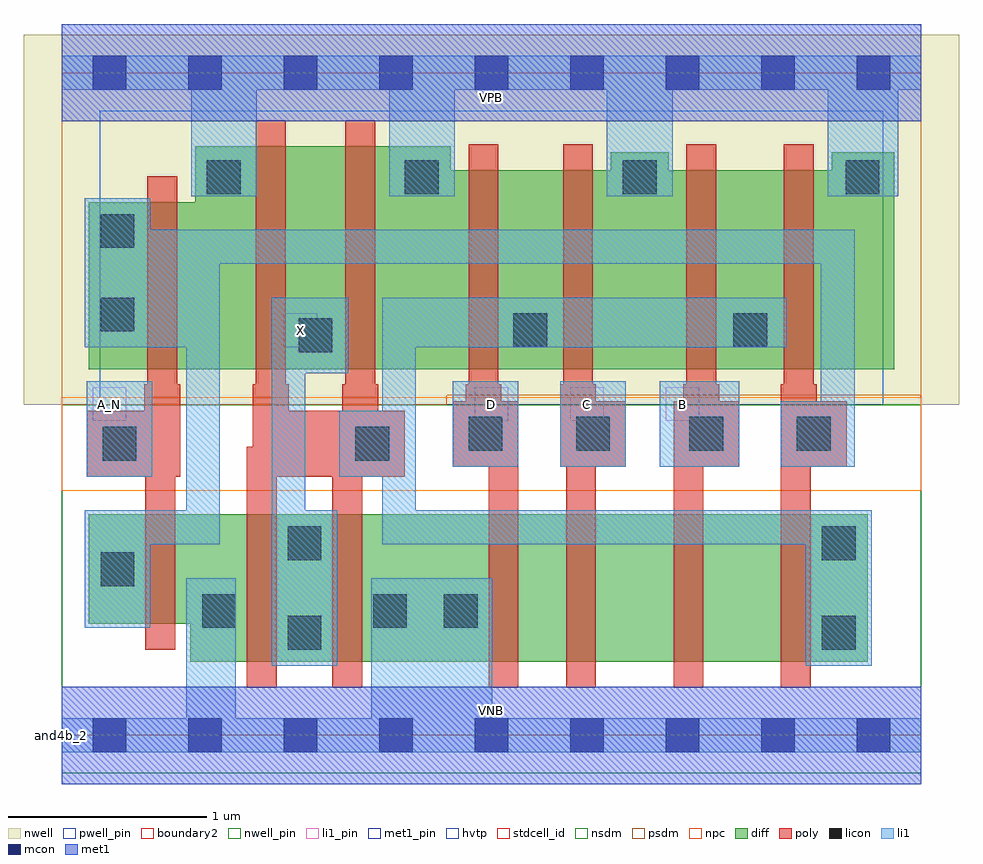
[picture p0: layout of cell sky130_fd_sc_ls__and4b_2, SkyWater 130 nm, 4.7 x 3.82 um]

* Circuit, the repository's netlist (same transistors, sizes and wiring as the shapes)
* Copyright 2020 The SkyWater PDK Authors
*
* Licensed under the Apache License, Version 2.0 (the "License");
* you may not use this file except in compliance with the License.
* You may obtain a copy of the License at
*
*     https://www.apache.org/licenses/LICENSE-2.0
*
* Unless required by applicable law or agreed to in writing, software
* distributed under the License is distributed on an "AS IS" BASIS,
* WITHOUT WARRANTIES OR CONDITIONS OF ANY KIND, either express or implied.
* See the License for the specific language governing permissions and
* limitations under the License.
*
* SPDX-License-Identifier: Apache-2.0

.SUBCKT sky130_fd_sc_ls__and4b_2 A_N B C D VGND VNB VPB VPWR X
*.PININFO A_N:I B:I C:I D:I VGND:I VNB:I VPB:I VPWR:I X:O
MMP0 y A VPWR VPB sky130_fd_pr__pfet_01v8_hvt m=1 w=1.0U l=0.15U mult=1 sa=0.265
+ sb=0.265 sd=0.28 area=0.063 perim=1.14
MMP1 y B VPWR VPB sky130_fd_pr__pfet_01v8_hvt m=1 w=1.0U l=0.15U mult=1 sa=0.265
+ sb=0.265 sd=0.28 area=0.063 perim=1.14
MMP2 y C VPWR VPB sky130_fd_pr__pfet_01v8_hvt m=1 w=1.0U l=0.15U mult=1 sa=0.265
+ sb=0.265 sd=0.28 area=0.063 perim=1.14
MMP3 y D VPWR VPB sky130_fd_pr__pfet_01v8_hvt m=1 w=1.0U l=0.15U mult=1 sa=0.265
+ sb=0.265 sd=0.28 area=0.063 perim=1.14
MMIP0 A A_N VPWR VPB sky130_fd_pr__pfet_01v8_hvt m=1 w=0.84U l=0.15U mult=1 sa=0.265
+ sb=0.265 sd=0.28 area=0.063 perim=1.14
MMIP1 X y VPWR VPB sky130_fd_pr__pfet_01v8_hvt m=2 w=1.12U l=0.15U mult=1 sa=0.265
+ sb=0.265 sd=0.28 area=0.063 perim=1.14
MMN0 y A sndA VNB sky130_fd_pr__nfet_01v8 m=1 w=0.74U l=0.15U mult=1 sa=0.265 sb=0.265
+ sd=0.28 area=0.063 perim=1.14
MMN1 sndA B sndB VNB sky130_fd_pr__nfet_01v8 m=1 w=0.74U l=0.15U mult=1 sa=0.265
+ sb=0.265 sd=0.28 area=0.063 perim=1.14
MMN2 sndB C sndC VNB sky130_fd_pr__nfet_01v8 m=1 w=0.74U l=0.15U mult=1 sa=0.265
+ sb=0.265 sd=0.28 area=0.063 perim=1.14
MMN3 sndC D VGND VNB sky130_fd_pr__nfet_01v8 m=1 w=0.74U l=0.15U mult=1 sa=0.265
+ sb=0.265 sd=0.28 area=0.063 perim=1.14
MMIN0 A A_N VGND VNB sky130_fd_pr__nfet_01v8 m=1 w=0.55U l=0.15U mult=1 sa=0.265
+ sb=0.265 sd=0.28 area=0.063 perim=1.14
MMIN1 X y VGND VNB sky130_fd_pr__nfet_01v8 m=2 w=0.74U l=0.15U mult=1 sa=0.265
+ sb=0.265 sd=0.28 area=0.063 perim=1.14
.ENDS sky130_fd_sc_ls__and4b_2

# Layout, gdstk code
import gdstk
lib = gdstk.Library(unit=1e-6, precision=1e-09)
def R(c, l, rs):  # rectangles x0, y0, x1, y1
    for r in rs: c.add(gdstk.rectangle(r[:2], r[2:], *l))
def A(c, l, x, y, w, h, nx, ny, dx, dy):  # array of equal rectangles
    R(c, l, [(x+i*dx, y+j*dy, x+i*dx+w, y+j*dy+h) for i in range(nx) for j in range(ny)])
def P(c, l, *ps):  # polygons
    for p in ps: c.add(gdstk.Polygon(p, *l))
nwell_pin = (64, 16)
nwell = (64, 20)
diff = (65, 20)
poly = (66, 20)
licon = (66, 44)
li1_pin = (67, 16)
li1 = (67, 20)
mcon = (67, 44)
met1_pin = (68, 16)
met1 = (68, 20)
hvtp = (78, 44)
stdcell_id = (81, 4)
nsdm = (93, 44)
psdm = (94, 20)
npc = (95, 20)
pwell_pin = (122, 16)
boundary2 = (236, 0)

sky130_fd_sc_ls__and4b_2 = lib.new_cell('sky130_fd_sc_ls__and4b_2')
R(sky130_fd_sc_ls__and4b_2, nwell_pin, [(0,3.085,4.32,3.33)])
R(sky130_fd_sc_ls__and4b_2, nwell, [(-0.19,1.66,4.51,3.52)])
P(sky130_fd_sc_ls__and4b_2, diff, [(4.05,1.11),(0.135,1.11),(0.135,0.56),(0.645,0.56),(0.645,0.37),(4.05,0.37)],
  [(4.185,2.93),(3.87,2.93),(3.87,2.84),(3.05,2.84),(3.05,2.93),(2.76,2.93),(2.76,2.84),(1.955,2.84),(1.955,2.96),(0.67,2.96),(0.67,2.68),(0.135,2.68),(0.135,1.84),(4.185,1.84)])
P(sky130_fd_sc_ls__and4b_2, poly, [(3.945,1.68),(3.795,1.68),(3.795,1.765),(3.78,1.765),(3.78,2.97),(3.63,2.97),(3.63,1.765),(3.615,1.765),(3.615,0.24),(3.765,0.24),(3.765,1.35),(3.945,1.35)],
  [(3.405,1.68),(3.305,1.68),(3.305,1.765),(3.29,1.765),(3.29,2.97),(3.14,2.97),(3.14,1.765),(3.125,1.765),(3.125,1.68),(3.075,1.68),(3.075,0.24),(3.225,0.24),(3.225,1.35),(3.405,1.35)],
  [(2.835,1.68),(2.685,1.68),(2.685,1.765),(2.67,1.765),(2.67,2.97),(2.52,2.97),(2.52,1.765),(2.505,1.765),(2.505,1.35),(2.535,1.35),(2.535,0.24),(2.685,0.24),(2.685,1.35),(2.835,1.35)],
  [(2.295,1.68),(2.21,1.68),(2.21,1.765),(2.195,1.765),(2.195,2.97),(2.045,2.97),(2.045,1.765),(2.03,1.765),(2.03,1.68),(1.965,1.68),(1.965,1.35),(2.145,1.35),(2.145,0.24),(2.295,0.24)],
  [(1.725,1.63),(1.59,1.63),(1.59,1.765),(1.575,1.765),(1.575,3.09),(1.425,3.09),(1.425,1.765),(1.41,1.765),(1.41,1.63),(1.14,1.63),(1.14,1.765),(1.125,1.765),(1.125,3.09),(0.975,3.09),(0.975,1.765),(0.96,1.765),(0.96,1.45),(0.93,1.45),(0.93,0.24),(1.08,0.24),(1.08,1.3),(1.36,1.3),(1.36,0.24),(1.51,0.24),(1.51,1.3),(1.725,1.3)],
  [(0.595,1.765),(0.58,1.765),(0.58,2.81),(0.43,2.81),(0.43,1.765),(0.415,1.765),(0.415,1.63),(0.125,1.63),(0.125,1.3),(0.42,1.3),(0.42,0.43),(0.57,0.43),(0.57,1.3),(0.595,1.3)])
R(sky130_fd_sc_ls__and4b_2, licon, [(1.135,0.43,1.305,0.6), (3.82,0.43,3.99,0.6), (0.705,0.54,0.875,0.71), (1.565,0.54,1.735,0.71), (1.92,0.54,2.09,0.71), (0.195,0.75,0.365,0.92), (1.135,0.88,1.305,1.05), (3.82,0.88,3.99,1.05), (0.205,1.38,0.375,1.55), (1.475,1.38,1.645,1.55), (2.045,1.43,2.215,1.6), (2.585,1.43,2.755,1.6), (3.155,1.43,3.325,1.6), (3.695,1.43,3.865,1.6), (1.19,1.925,1.36,2.095), (2.27,1.95,2.44,2.12), (3.375,1.95,3.545,2.12), (0.195,2.03,0.365,2.2), (0.195,2.45,0.365,2.62), (0.73,2.72,0.9,2.89), (1.725,2.72,1.895,2.89), (2.82,2.72,2.99,2.89), (3.94,2.72,4.11,2.89)])
A(sky130_fd_sc_ls__and4b_2, li1_pin, 2.075, 1.58, 0.17, 0.17, 3, 1, 0.48, 0)
R(sky130_fd_sc_ls__and4b_2, li1_pin, [(0.155,1.58,0.325,1.75), (1.115,1.95,1.285,2.12)])
R(sky130_fd_sc_ls__and4b_2, li1, [(0.125,1.3,0.455,1.78), (1.965,1.35,2.295,1.78), (2.505,1.35,2.835,1.78), (3.005,1.35,3.405,1.78)])
P(sky130_fd_sc_ls__and4b_2, li1, [(0.65,2.71),(0.65,3.245),(0,3.245),(0,3.415),(4.32,3.415),(4.32,3.245),(4.205,3.245),(4.205,2.71),(3.85,2.71),(3.85,3.245),(3.07,3.245),(3.07,2.71),(2.74,2.71),(2.74,3.245),(1.975,3.245),(1.975,2.71),(1.645,2.71),(1.645,3.245),(0.98,3.245),(0.98,2.71)],
  [(0.625,0.085),(0.625,0.79),(0.875,0.79),(0.875,0.085),(1.555,0.085),(1.555,0.79),(2.165,0.79),(2.165,0.085),(4.32,0.085),(4.32,-0.085),(0,-0.085),(0,0.085)],
  [(1.055,2.2),(1.44,2.2),(1.44,1.82),(1.225,1.82),(1.225,1.13),(1.385,1.13),(1.385,0.35),(1.055,0.35)],
  [(0.445,2.54),(3.985,2.54),(3.985,1.35),(3.615,1.35),(3.615,1.68),(3.815,1.68),(3.815,2.37),(0.795,2.37),(0.795,0.96),(0.445,0.96),(0.445,0.54),(0.115,0.54),(0.115,1.13),(0.625,1.13),(0.625,1.95),(0.115,1.95),(0.115,2.7),(0.445,2.7)],
  [(1.61,0.96),(1.61,1.3),(1.395,1.3),(1.395,1.63),(1.61,1.63),(1.61,2.2),(3.645,2.2),(3.645,1.95),(1.78,1.95),(1.78,1.13),(4.07,1.13),(4.07,0.35),(3.74,0.35),(3.74,0.96)])
A(sky130_fd_sc_ls__and4b_2, mcon, 0.155, -0.085, 0.17, 0.17, 9, 2, 0.48, 3.33)
R(sky130_fd_sc_ls__and4b_2, met1_pin, [(0,0,4.32,0.245), (0,3.085,4.32,3.33)])
R(sky130_fd_sc_ls__and4b_2, met1, [(0,-0.245,4.32,0.245), (0,3.085,4.32,3.575)])
R(sky130_fd_sc_ls__and4b_2, hvtp, [(0.19,1.66,4.13,3.14)])
R(sky130_fd_sc_ls__and4b_2, stdcell_id, [(0,0,4.32,3.33)])
R(sky130_fd_sc_ls__and4b_2, nsdm, [(0,-0.19,4.32,1.66)])
P(sky130_fd_sc_ls__and4b_2, psdm, [(4.32,3.52),(0,3.52),(0,1.66),(1.935,1.66),(1.935,1.71),(4.32,1.71)])
R(sky130_fd_sc_ls__and4b_2, npc, [(0,1.23,4.32,1.7)])
R(sky130_fd_sc_ls__and4b_2, pwell_pin, [(0,0,4.32,0.245)])
R(sky130_fd_sc_ls__and4b_2, boundary2, [(0,0,4.32,3.33)])
sky130_fd_sc_ls__and4b_2.add(gdstk.Label('and4b_2', (0,0), layer=83, texttype=44))
sky130_fd_sc_ls__and4b_2.add(gdstk.Label('VNB', (2.16,0.123), layer=64, texttype=59))
sky130_fd_sc_ls__and4b_2.add(gdstk.Label('VPB', (2.16,3.208), layer=64, texttype=5))
sky130_fd_sc_ls__and4b_2.add(gdstk.Label('VPWR', (2.16,3.208), layer=68, texttype=5))
sky130_fd_sc_ls__and4b_2.add(gdstk.Label('VGND', (2.16,0.123), layer=68, texttype=5))
sky130_fd_sc_ls__and4b_2.add(gdstk.Label('X', (1.2,2.035), layer=67, texttype=5))
sky130_fd_sc_ls__and4b_2.add(gdstk.Label('A_N', (0.24,1.665), layer=67, texttype=5))
sky130_fd_sc_ls__and4b_2.add(gdstk.Label('D', (2.16,1.665), layer=67, texttype=5))
sky130_fd_sc_ls__and4b_2.add(gdstk.Label('C', (2.64,1.665), layer=67, texttype=5))
sky130_fd_sc_ls__and4b_2.add(gdstk.Label('B', (3.12,1.665), layer=67, texttype=5))

lib.write_gds('sky130_fd_sc_ls__and4b_2.gds')
